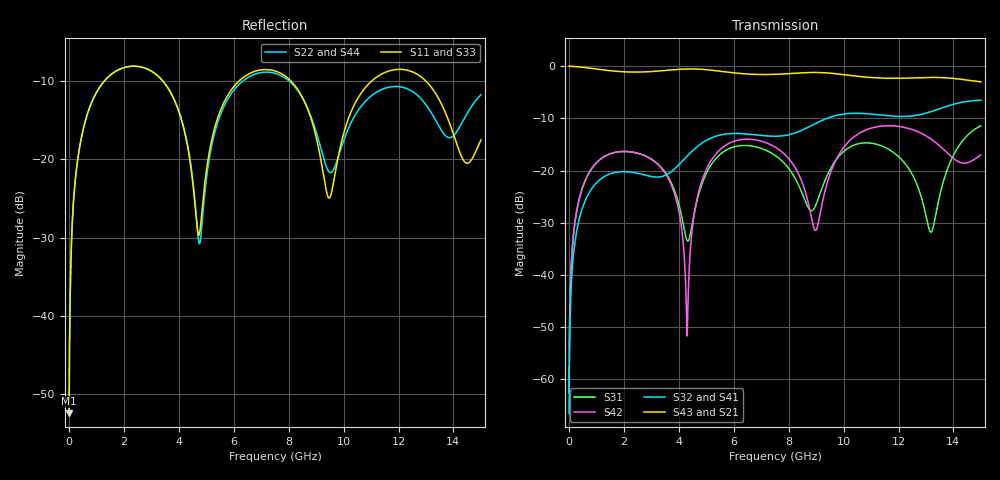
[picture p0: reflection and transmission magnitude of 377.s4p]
! Created with skrf 1.8.0 (http://scikit-rf.org).
# GHz S RI R 50.0
!freq ReS11 ImS11 ReS12 ImS12 ReS13 ImS13
! ReS14 ImS14
! ReS21 ImS21 ReS22 ImS22 ReS23 ImS23
! ReS24 ImS24
! ReS31 ImS31 ReS32 ImS32 ReS33 ImS33
! ReS34 ImS34
! ReS41 ImS41 ReS42 ImS42 ReS43 ImS43
! ReS44 ImS44
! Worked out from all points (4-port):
!   2499 points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, 5 MHz to 15 GHz, reference 50 ohm
!   strongest paths, dB at 5 MHz, 3.476 GHz, 7.19 GHz, 11.1 GHz, 15 GHz:
!     S43: 0.0, -0.8, -1.6, -2.2, -3.0
!     S21: 0.0, -0.8, -1.6, -2.2, -3.0
!     S32: -66.5, -21.0, -13.4, -9.2, -6.6
!     S41: -66.5, -21.0, -13.4, -9.3, -6.6
!     S42: -62.6, -20.3, -14.7, -11.7, -17.0
!     S31: -62.6, -20.1, -16.2, -14.8, -11.4
!   lowest |S11| = -52.5 dB at 5 MHz (marker M1), VSWR 1.00, Z = 50.2 + j0.144 ohm
!   |S11| at or under -10 dB: 3.421 GHz to 6.186 GHz (2.766 GHz wide, 57.6 % of centre); 8.089 GHz to 11.02 GHz (2.929 GHz wide, 30.7 % of centre); 13 GHz to end of sweep (the widest 3 of 4)
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0.005  0.00189 0.00144  0.9981 -0.00368  9.54e-05 0.000738  -9.27e-05 -0.000465
       0.9981 -0.00368  0.00189 0.00144  -9.27e-05 -0.000465  9.54e-05 0.000738
       9.54e-05 0.000738  -9.27e-05 -0.000465  0.00189 0.00144  0.9981 -0.00368
       -9.27e-05 -0.000465  9.54e-05 0.000738  0.9981 -0.00368  0.00189 0.00144
0.3626511  0.0386 0.1059  0.9466 -0.2613  0.0183 0.0486  -0.0152 -0.0297
           0.9466 -0.2613  0.0386 0.1059  -0.0152 -0.0297  0.0184 0.0486
           0.0183 0.0486  -0.0152 -0.0297  0.0386 0.1059  0.9466 -0.2613
           -0.0152 -0.0297  0.0184 0.0486  0.9466 -0.2613  0.0386 0.1059
1.77574  0.352 0.1199  0.332 -0.8253  0.1486 0.0255  -0.0924 0.0285
         0.332 -0.8253  0.3519 0.1201  -0.0925 0.0287  0.1485 0.0259
         0.1486 0.0255  -0.0925 0.0287  0.3519 0.12  0.3321 -0.8252
         -0.0924 0.0285  0.1485 0.0259  0.3321 -0.8252  0.352 0.1201
4.29554  0.0636 -0.11  -0.8719 -0.3472  -0.0196 -0.00892  -0.0471 0.1286
         -0.8719 -0.3472  0.0624 -0.1141  -0.0457 0.1291  0.0027 -0.000632
         -0.0196 -0.00892  -0.0457 0.1291  0.0636 -0.1105  -0.8717 -0.3474
         -0.0471 0.1286  0.0027 -0.000632  -0.8717 -0.3474  0.0628 -0.1145
5.508545  0.1391 0.1492  -0.7987 0.3978  0.0907 0.111  0.1262 0.1782
          -0.7987 0.3978  0.1255 0.1445  0.1282 0.1773  0.1293 0.0928
          0.0907 0.111  0.1282 0.1773  0.1374 0.1484  -0.7991 0.3975
          0.1262 0.1782  0.1293 0.0928  -0.7991 0.3975  0.1261 0.1432
9.553981  0.0589 0.0148  0.8478 0.0951  -0.0195 0.1058  0.0294 -0.3255
          0.8478 0.0951  0.0826 -0.000983  0.0219 -0.3258  0.0303 0.0954
          -0.0195 0.1058  0.0219 -0.3258  0.062 0.0171  0.848 0.094
          0.0294 -0.3255  0.0303 0.0954  0.848 0.094  0.0791 0.00213
15  0.1267 0.0399  -0.6896 0.1531  0.202 0.1761  0.1394 0.4488
    -0.6896 0.1531  0.2396 0.0981  0.1533 0.4446  0.0544 0.1304
    0.202 0.1761  0.1533 0.4446  0.1245 0.0347  -0.69 0.1536
    0.1394 0.4488  0.0544 0.1304  -0.69 0.1536  0.2374 0.1001
